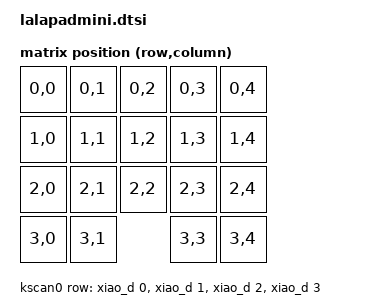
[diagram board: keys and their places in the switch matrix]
#include <dt-bindings/zmk/matrix_transform.h>
#include <dt-bindings/zmk/input_transform.h>
#include <input/processors.dtsi>
#include "lalapadmini-layouts.dtsi"

/ {
    chosen {
        zmk,physical-layout = &lalapadmini_physical_layout;
    };

    default_transform: keymap_transform_0 {
        compatible = "zmk,matrix-transform";
        columns = <5>;
        rows = <4>;
        map = <
            RC(0,0) RC(0,1) RC(0,2) RC(0,3) RC(0,4)
            RC(1,0) RC(1,1) RC(1,2) RC(1,3) RC(1,4)
            RC(2,0) RC(2,1) RC(2,2) RC(2,3) RC(2,4)
            RC(3,0) RC(3,1)         RC(3,3) RC(3,4)
        >;
    };

    kscan0: kscan {
        compatible = "zmk,kscan-gpio-matrix";
        wakeup-source;

        diode-direction = "col2row";
        row-gpios
            = <&xiao_d 0 (GPIO_ACTIVE_HIGH | GPIO_PULL_DOWN)> 
            , <&xiao_d 1 (GPIO_ACTIVE_HIGH | GPIO_PULL_DOWN)>
            , <&xiao_d 2 (GPIO_ACTIVE_HIGH | GPIO_PULL_DOWN)>
            , <&xiao_d 3 (GPIO_ACTIVE_HIGH | GPIO_PULL_DOWN)>
            ;
    };

    // Encoders
    left_encoder: left_encoder {
        compatible = "alps,ec11";
        status = "disabled";
    };
    right_encoder: right_encoder {
        compatible = "alps,ec11";
        status = "disabled";
    };
    sensors: sensors {
        compatible = "zmk,keymap-sensors";
        sensors = <&left_encoder &right_encoder>;
        triggers-per-rotation = <10>;
    };

};
